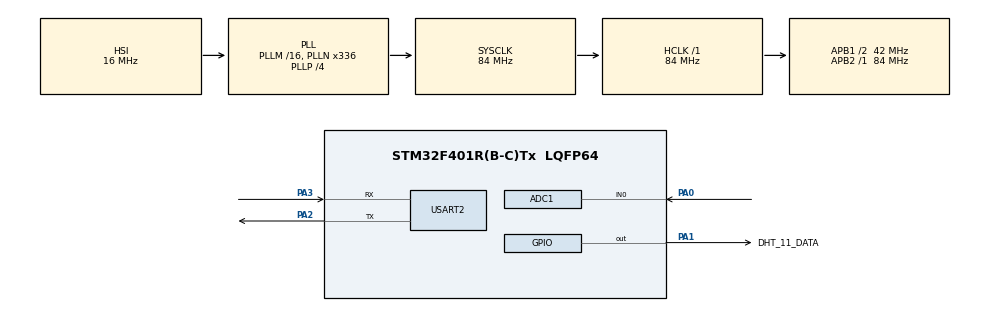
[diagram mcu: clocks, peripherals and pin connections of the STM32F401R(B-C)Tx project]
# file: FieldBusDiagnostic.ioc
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ADC1.Channel-1\#ChannelRegularConversion=ADC_CHANNEL_0
ADC1.EnableAnalogWatchDog=false
ADC1.NbrOfConversionFlag=1
ADC1.Rank-1\#ChannelRegularConversion=1
ADC1.SamplingTime-1\#ChannelRegularConversion=ADC_SAMPLETIME_3CYCLES
ADC1.master=1
Mcu.Family=STM32F4
Mcu.Name=STM32F401R(B-C)Tx
Mcu.Package=LQFP64
NVIC.PriorityGroup=NVIC_PRIORITYGROUP_4
PA0-WKUP.Signal=ADCx_IN0
PA1.GPIO_Label=DHT_11_DATA
PA1.GPIO_ModeDefaultOutputPP=GPIO_MODE_OUTPUT_OD
PA1.GPIO_PuPd=GPIO_PULLUP
PA1.PinState=GPIO_PIN_SET
PA1.Signal=GPIO_Output
PA13.Mode=Serial_Wire
PA13.Signal=SYS_JTMS-SWDIO
PA14.Mode=Serial_Wire
PA14.Signal=SYS_JTCK-SWCLK
PA2.Mode=Asynchronous
PA2.Signal=USART2_TX
PA3.Mode=Asynchronous
PA3.Signal=USART2_RX
ProjectManager.HeapSize=0x200
ProjectManager.StackSize=0x400
ProjectManager.TargetToolchain=STM32CubeIDE
RCC.48MHZClocksFreq_Value=84000000
RCC.AHBFreq_Value=84000000
RCC.APB1CLKDivider=RCC_HCLK_DIV2
RCC.APB1Freq_Value=42000000
RCC.APB1TimFreq_Value=84000000
RCC.APB2Freq_Value=84000000
RCC.APB2TimFreq_Value=84000000
RCC.CortexFreq_Value=84000000
RCC.HCLKFreq_Value=84000000
RCC.HSE_VALUE=25000000
RCC.HSI_VALUE=16000000
RCC.LSE_VALUE=32768
RCC.PLLN=336
RCC.PLLP=RCC_PLLP_DIV4
RCC.SYSCLKFreq_VALUE=84000000
RCC.SYSCLKSource=RCC_SYSCLKSOURCE_PLLCLK
RCC.VCOOutputFreq_Value=336000000
SH.ADCx_IN0.0=ADC1_IN0,IN0
TIM2.Prescaler=83
USART2.VirtualMode=VM_ASYNC
VP_TIM2_VS_ClockSourceINT.Mode=Internal
board=custom

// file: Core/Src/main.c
/* USER CODE BEGIN Header */
/**
  ******************************************************************************
  * @file           : main.c
  * @brief          : Main program body
  ******************************************************************************
  * @attention
  *
  * Copyright (c) 2026 STMicroelectronics.
  * All rights reserved.
  *
  * This software is licensed under terms that can be found in the LICENSE file
  * in the root directory of this software component.
  * If no LICENSE file comes with this software, it is provided AS-IS.
  *
  ******************************************************************************
  */
/* USER CODE END Header */
#include "main.h"

/* USER CODE BEGIN Includes */
#include <stdio.h>
#include <string.h>
/* USER CODE END Includes */

/* USER CODE BEGIN PD */
#define DHT_11_PORT GPIOA
#define DHT_11_PIN GPIO_PIN_1
/* USER CODE END PD */

ADC_HandleTypeDef hadc1;

TIM_HandleTypeDef htim2;

UART_HandleTypeDef huart2;

void SystemClock_Config(void);
static void MX_GPIO_Init(void);
static void MX_ADC1_Init(void);
static void MX_TIM2_Init(void);
static void MX_USART2_UART_Init(void);

/* USER CODE BEGIN 0 */
static void DHT11_SetOutput(void)
{
    GPIO_InitTypeDef GPIO_InitStruct = {0};

    GPIO_InitStruct.Pin = DHT_11_PIN;
    GPIO_InitStruct.Mode = GPIO_MODE_OUTPUT_PP;
    GPIO_InitStruct.Pull = GPIO_NOPULL;
    GPIO_InitStruct.Speed = GPIO_SPEED_FREQ_HIGH;

    HAL_GPIO_Init(DHT_11_PORT, &GPIO_InitStruct);
}

static void DHT_11_SetInput(void)
{
    GPIO_InitTypeDef GPIO_InitStruct = {0};

    GPIO_InitStruct.Pin = DHT_11_PIN;
    GPIO_InitStruct.Mode = GPIO_MODE_INPUT;
    GPIO_InitStruct.Pull = GPIO_PULLUP;

    HAL_GPIO_Init(DHT_11_PORT, &GPIO_InitStruct);
}

/* Initialisation du compteur de cycles pour obtenir des microsecondes */
static void DWT_Init(void)
{
    CoreDebug->DEMCR |= CoreDebug_DEMCR_TRCENA_Msk;
    DWT->CYCCNT = 0;
    DWT->CTRL |= DWT_CTRL_CYCCNTENA_Msk;
}

/* Delay en microsecondes */
static void Delay_us(uint32_t us)
{
    uint32_t start = DWT->CYCCNT;
    uint32_t cycles = (SystemCoreClock / 1000000U) * us;

    while ((DWT->CYCCNT - start) < cycles);
}

/* Attend que la broche atteigne un niveau donné */
static uint8_t DHT_11_WaitForLevel(GPIO_PinState level, uint32_t timeout_us)
{
    uint32_t start = DWT->CYCCNT;
    uint32_t cycles = (SystemCoreClock / 1000000U) * timeout_us;

    while (HAL_GPIO_ReadPin(DHT_11_PORT, DHT_11_PIN) != level)
    {
        if ((DWT->CYCCNT - start) > cycles)
            return 0;
    }

    return 1;
}

/* Lecture complète du DHT11 */
static uint8_t DHT_11_Read(uint8_t *temperature, uint8_t *humidity)
{
    uint8_t data[5] = {0};

    /* Signal START */
    DHT11_SetOutput();

    HAL_GPIO_WritePin(DHT_11_PORT, DHT_11_PIN, GPIO_PIN_RESET);
    HAL_Delay(18);

    HAL_GPIO_WritePin(DHT_11_PORT, DHT_11_PIN, GPIO_PIN_SET);
    Delay_us(30);

    DHT_11_SetInput();

    /* Réponse du DHT11 :
       environ 80 us LOW + 80 us HIGH
    */

    if (!DHT_11_WaitForLevel(GPIO_PIN_RESET, 100))
        return 0;

    if (!DHT_11_WaitForLevel(GPIO_PIN_SET, 100))
        return 0;

    if (!DHT_11_WaitForLevel(GPIO_PIN_RESET, 100))
        return 0;

    /* Lecture des 40 bits */
    for (uint8_t i = 0; i < 40; i++)
    {
        /* Chaque bit commence par environ 50 us LOW */
        if (!DHT_11_WaitForLevel(GPIO_PIN_SET, 100))
            return 0;

        /* Mesurer la durée du HIGH */
        uint32_t start = DWT->CYCCNT;

        if (!DHT_11_WaitForLevel(GPIO_PIN_RESET, 120))
            return 0;

        uint32_t elapsed = DWT->CYCCNT - start;

        uint32_t time_us = elapsed / (SystemCoreClock / 1000000U);

        /*
           DHT11 :
           ~26-28 us = bit 0
           ~70 us    = bit 1
        */
        data[i / 8] <<= 1;

        if (time_us > 40)
        {
            data[i / 8] |= 1;
        }
    }

    /* Vérification checksum */
    if (((uint8_t)(data[0] + data[1] + data[2] + data[3])) != data[4])
    {
        return 0;
    }

    *humidity = data[0];
    *temperature = data[2];

    return 1;
}

/* Envoyer une chaîne par UART */
static void UART_Send(char *text)
{
    HAL_UART_Transmit(&huart2,
                      (uint8_t *)text,
                      strlen(text),
                      HAL_MAX_DELAY);
}
/* USER CODE END 0 */

int  main (void)
{

  /* MCU Configuration--------------------------------------------------------*/

  /* Reset of all peripherals, Initializes the Flash interface and the Systick. */
  HAL_Init();

  /* Configure the system clock */
  SystemClock_Config();

  /* Initialize all configured peripherals */
  MX_GPIO_Init();
  MX_ADC1_Init();
  MX_TIM2_Init();
  MX_USART2_UART_Init();
  DWT_Init();

  /* Infinite loop */
  /* USER CODE BEGIN WHILE */
  uint32_t adc_value;
  float voltage;

  uint8_t temperature;
  uint8_t humidity;

  char message[200];
  while (1)
  {
    /* USER CODE END WHILE */
	  /* =====================================
	         Lecture ADC - potentiomètre
	         ===================================== */

	      HAL_ADC_Start(&hadc1);

	      if (HAL_ADC_PollForConversion(&hadc1, 100) == HAL_OK)
	      {
	          adc_value = HAL_ADC_GetValue(&hadc1);
	      }

	      HAL_ADC_Stop(&hadc1);

	      /* ADC 12 bits : 0 à 4095
	         tension de référence = 3.3 V
	      */
	      voltage = ((float)adc_value * 3.3f) / 4095.0f;

	      /* =====================================
	         Lecture DHT11
	         ===================================== */

	      uint8_t dht_status = DHT_11_Read(&temperature, &humidity);

	      /* =====================================
	         Rapport de diagnostic
	         ===================================== */

	      UART_Send("\r\n");
	      UART_Send("================================\r\n");
	      UART_Send("      STM32 BUS DIAGNOSTIC\r\n");
	      UART_Send("================================\r\n");

	      /* ADC */
	      sprintf(message,
	              "[ADC]\r\n"
	              "Raw value : %lu\r\n"
	              "Voltage   : %.2f V\r\n",
	              adc_value,
	              voltage);

	      UART_Send(message);

	      /* DHT11 */
	      if (dht_status)
	      {
	          sprintf(message,
	                  "\r\n[DHT_11]\r\n"
	                  "Temperature : %d C\r\n"
	                  "Humidity    : %d %%\r\n",
	                  temperature,
	                  humidity);

	          UART_Send(message);

	          UART_Send("DHT_11 status : OK\r\n");
	      }
	      else
	      {
	          UART_Send("\r\n[DHT_11]\r\n");
	          UART_Send("ERROR: Sensor not detected\r\n");
	          UART_Send("DHT_11 status : ERROR\r\n");
	      }

	      /* UART */
	      UART_Send("\r\n[UART]\r\n");
	      UART_Send("USART2 status : OK\r\n");

	      UART_Send("\r\n================================\r\n");

	      /* Attendre 2 secondes avant la prochaine mesure */
	      HAL_Delay(2000);
  }
}

void SystemClock_Config(void)
{
  RCC_OscInitTypeDef RCC_OscInitStruct = {0};
  RCC_ClkInitTypeDef RCC_ClkInitStruct = {0};

  /** Configure the main internal regulator output voltage
  */
  __HAL_RCC_PWR_CLK_ENABLE();
  __HAL_PWR_VOLTAGESCALING_CONFIG(PWR_REGULATOR_VOLTAGE_SCALE2);

  /** Initializes the RCC Oscillators according to the specified parameters
  * in the RCC_OscInitTypeDef structure.
  */
  RCC_OscInitStruct.OscillatorType = RCC_OSCILLATORTYPE_HSI;
  RCC_OscInitStruct.HSIState = RCC_HSI_ON;
  RCC_OscInitStruct.HSICalibrationValue = RCC_HSICALIBRATION_DEFAULT;
  RCC_OscInitStruct.PLL.PLLState = RCC_PLL_ON;
  RCC_OscInitStruct.PLL.PLLSource = RCC_PLLSOURCE_HSI;
  RCC_OscInitStruct.PLL.PLLM = 16;
  RCC_OscInitStruct.PLL.PLLN = 336;
  RCC_OscInitStruct.PLL.PLLP = RCC_PLLP_DIV4;
  RCC_OscInitStruct.PLL.PLLQ = 4;
  if (HAL_RCC_OscConfig(&RCC_OscInitStruct) != HAL_OK)
  {
    Error_Handler();
  }

  /** Initializes the CPU, AHB and APB buses clocks
  */
  RCC_ClkInitStruct.ClockType = RCC_CLOCKTYPE_HCLK|RCC_CLOCKTYPE_SYSCLK
                              |RCC_CLOCKTYPE_PCLK1|RCC_CLOCKTYPE_PCLK2;
  RCC_ClkInitStruct.SYSCLKSource = RCC_SYSCLKSOURCE_PLLCLK;
  RCC_ClkInitStruct.AHBCLKDivider = RCC_SYSCLK_DIV1;
  RCC_ClkInitStruct.APB1CLKDivider = RCC_HCLK_DIV2;
  RCC_ClkInitStruct.APB2CLKDivider = RCC_HCLK_DIV1;

  if (HAL_RCC_ClockConfig(&RCC_ClkInitStruct, FLASH_LATENCY_2) != HAL_OK)
  {
    Error_Handler();
  }
}

static void MX_ADC1_Init(void)
{

  ADC_ChannelConfTypeDef sConfig = {0};

  /** Configure the global features of the ADC (Clock, Resolution, Data Alignment and number of conversion)
  */
  hadc1.Instance = ADC1;
  hadc1.Init.ClockPrescaler = ADC_CLOCK_SYNC_PCLK_DIV4;
  hadc1.Init.Resolution = ADC_RESOLUTION_12B;
  hadc1.Init.ScanConvMode = DISABLE;
  hadc1.Init.ContinuousConvMode = DISABLE;
  hadc1.Init.DiscontinuousConvMode = DISABLE;
  hadc1.Init.ExternalTrigConvEdge = ADC_EXTERNALTRIGCONVEDGE_NONE;
  hadc1.Init.ExternalTrigConv = ADC_SOFTWARE_START;
  hadc1.Init.DataAlign = ADC_DATAALIGN_RIGHT;
  hadc1.Init.NbrOfConversion = 1;
  hadc1.Init.DMAContinuousRequests = DISABLE;
  hadc1.Init.EOCSelection = ADC_EOC_SINGLE_CONV;
  if (HAL_ADC_Init(&hadc1) != HAL_OK)
  {
    Error_Handler();
  }

  /** Configure for the selected ADC regular channel its corresponding rank in the sequencer and its sample time.
  */
  sConfig.Channel = ADC_CHANNEL_0;
  sConfig.Rank = 1;
  sConfig.SamplingTime = ADC_SAMPLETIME_3CYCLES;
  if (HAL_ADC_ConfigChannel(&hadc1, &sConfig) != HAL_OK)
  {
    Error_Handler();
  }

}

static void MX_TIM2_Init(void)
{

  TIM_ClockConfigTypeDef sClockSourceConfig = {0};
  TIM_MasterConfigTypeDef sMasterConfig = {0};

  htim2.Instance = TIM2;
  htim2.Init.Prescaler = 83;
  htim2.Init.CounterMode = TIM_COUNTERMODE_UP;
  htim2.Init.Period = 4294967295;
  htim2.Init.ClockDivision = TIM_CLOCKDIVISION_DIV1;
  htim2.Init.AutoReloadPreload = TIM_AUTORELOAD_PRELOAD_DISABLE;
  if (HAL_TIM_Base_Init(&htim2) != HAL_OK)
  {
    Error_Handler();
  }
  sClockSourceConfig.ClockSource = TIM_CLOCKSOURCE_INTERNAL;
  if (HAL_TIM_ConfigClockSource(&htim2, &sClockSourceConfig) != HAL_OK)
  {
    Error_Handler();
  }
  sMasterConfig.MasterOutputTrigger = TIM_TRGO_RESET;
  sMasterConfig.MasterSlaveMode = TIM_MASTERSLAVEMODE_DISABLE;
  if (HAL_TIMEx_MasterConfigSynchronization(&htim2, &sMasterConfig) != HAL_OK)
  {
    Error_Handler();
  }

}

static void MX_USART2_UART_Init(void)
{

  huart2.Instance = USART2;
  huart2.Init.BaudRate = 115200;
  huart2.Init.WordLength = UART_WORDLENGTH_8B;
  huart2.Init.StopBits = UART_STOPBITS_1;
  huart2.Init.Parity = UART_PARITY_NONE;
  huart2.Init.Mode = UART_MODE_TX_RX;
  huart2.Init.HwFlowCtl = UART_HWCONTROL_NONE;
  huart2.Init.OverSampling = UART_OVERSAMPLING_16;
  if (HAL_UART_Init(&huart2) != HAL_OK)
  {
    Error_Handler();
  }

}

static void MX_GPIO_Init(void)
{
  GPIO_InitTypeDef GPIO_InitStruct = {0};

  /* GPIO Ports Clock Enable */
  __HAL_RCC_GPIOA_CLK_ENABLE();

  /*Configure GPIO pin Output Level */
  HAL_GPIO_WritePin(DHT_11_DATA_GPIO_Port, DHT_11_DATA_Pin, GPIO_PIN_SET);

  /*Configure GPIO pin : DHT_11_DATA_Pin */
  GPIO_InitStruct.Pin = DHT_11_DATA_Pin;
  GPIO_InitStruct.Mode = GPIO_MODE_OUTPUT_OD;
  GPIO_InitStruct.Pull = GPIO_PULLUP;
  GPIO_InitStruct.Speed = GPIO_SPEED_FREQ_LOW;
  HAL_GPIO_Init(DHT_11_DATA_GPIO_Port, &GPIO_InitStruct);

}

void Error_Handler(void)
{
  __disable_irq();
  while (1)
  {
  }
}
